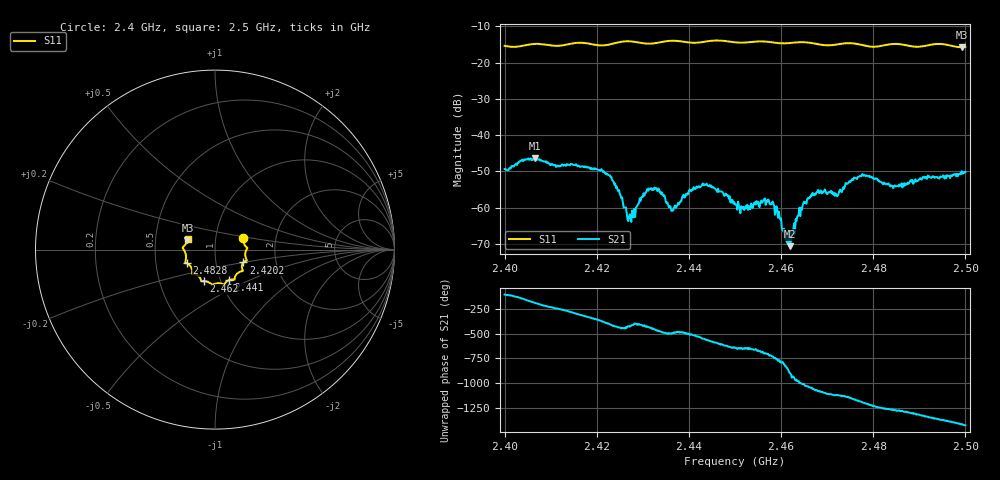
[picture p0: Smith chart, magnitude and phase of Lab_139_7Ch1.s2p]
# Hz S RI R 50
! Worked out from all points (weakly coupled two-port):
!   601 points, 2.4 GHz to 2.5 GHz, reference 50 ohm
!   highest |S21| = -46.39 dB at 2.4065 GHz (marker M1); lowest = -70.6 dB at 2.4618 GHz (marker M2)
!   lowest |S11| = -15.8 dB at 2.4993 GHz (marker M3), VSWR 1.39, Z = 36.5 + j3.87 ohm
!   |S11| at or under -10 dB: start of sweep to end of sweep
!   S12 and S22 are empty: the file has one direction only
!   S11 on the Smith chart (normalised r, x): 2.4 GHz: 1.36, +0.17; 2.4202 GHz: 1.36, -0.20; 2.441 GHz: 1.10, -0.39; 2.462 GHz: 0.84, -0.30; 2.4828 GHz: 0.72, -0.11; 2.5 GHz: 0.73, +0.09
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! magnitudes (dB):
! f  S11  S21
! 2.4 GHz  -15.4  -49.4
! 2.4065 GHz  -14.9  -46.4
! 2.4167 GHz  -14.5  -48.7
! 2.4202 GHz  -15.2  -49.5
! 2.4232 GHz  -14.9  -51.6
! 2.427 GHz  -14.1  -62.7
! 2.431 GHz  -14.8  -54.9
! 2.4333 GHz  -14.5  -54.7
! 2.4367 GHz  -14.0  -60.4
! 2.441 GHz  -14.6  -54.4
! 2.4443 GHz  -14.1  -54.1
! 2.45 GHz  -14.4  -59.1
! 2.4577 GHz  -14.4  -59.1
! 2.4618 GHz  -14.6  -70.6
! 2.462 GHz  -14.6  -66.5
! 2.4667 GHz  -14.6  -56.7
! 2.472 GHz  -15.0  -56.4
! 2.4777 GHz  -15.2  -50.7
! 2.4828 GHz  -15.1  -53.4
! 2.4833 GHz  -15.0  -53.3
! 2.4993 GHz  -15.8  -50.6
! 2.5 GHz  -15.7  -50.2
